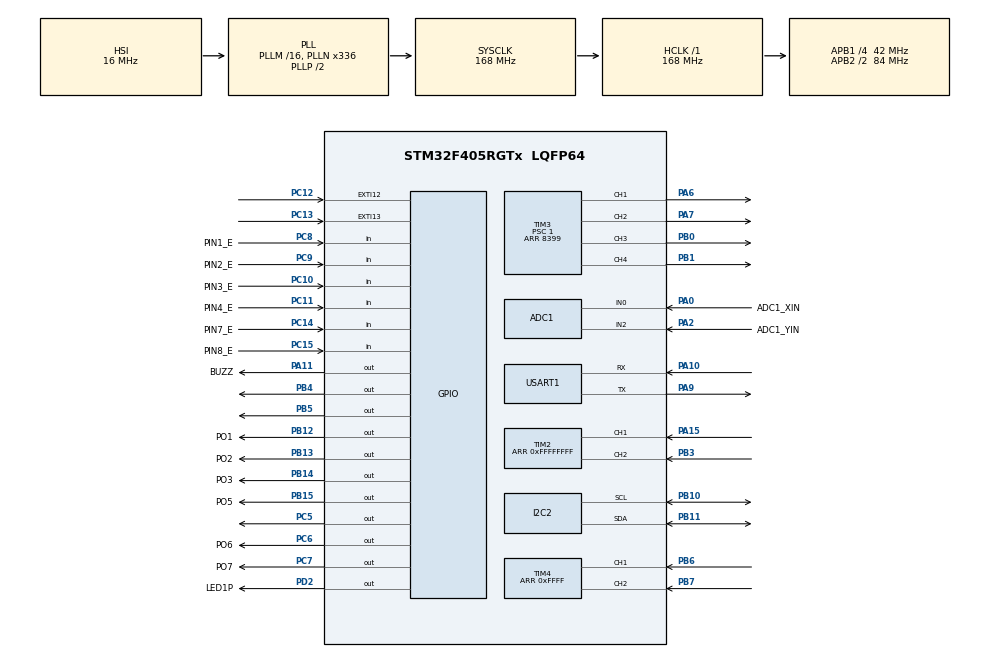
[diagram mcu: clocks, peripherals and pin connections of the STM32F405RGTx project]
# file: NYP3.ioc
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ADC1.Channel-0\#ChannelRegularConversion=ADC_CHANNEL_0
ADC1.ClockPrescaler=ADC_CLOCKPRESCALER_PCLK_DIV4
ADC1.ContinuousConvMode=DISABLE
ADC1.DMAContinuousRequests=DISABLE
ADC1.DataAlign=ADC_DATAALIGN_RIGHT
ADC1.DiscontinuousConvMode=DISABLE
ADC1.EOCSelection=EOC_SINGLE_CONV
ADC1.EnableAnalogWatchDog=false
ADC1.ExternalTrigConvEdge=ADC_EXTERNALTRIGCONVEDGE_NONE
ADC1.InjNumberOfConversion=0
ADC1.NbrOfConversion=1
ADC1.NbrOfConversionFlag=1
ADC1.Rank-0\#ChannelRegularConversion=1
ADC1.Resolution=ADC_RESOLUTION12b
ADC1.SamplingTime-0\#ChannelRegularConversion=ADC_SAMPLETIME_3CYCLES
ADC1.ScanConvMode=DISABLE
ADC1.master=1
FREERTOS.Tasks01=defaultTask,0,128,StartDefaultTask
Mcu.Family=STM32F4
Mcu.Name=STM32F405RGTx
Mcu.Package=LQFP64
NVIC.PriorityGroup=NVIC_PRIORITYGROUP_4
NVIC.TIM2_IRQn=true\:5\:0\:false
NVIC.TIM4_IRQn=true\:5\:0\:false
NVIC.TIM7_IRQn=true\:5\:0\:false
PA0-WKUP.GPIO_Label=ADC1_XIN
PA0-WKUP.Signal=ADCx_IN0
PA10.Mode=Asynchronous
PA10.Signal=USART1_RX
PA11.GPIO_Label=BUZZ
PA11.Signal=GPIO_Output
PA13.Mode=Serial-Wire
PA13.Signal=SYS_JTMS-SWDIO
PA14.Mode=Serial-Wire
PA14.Signal=SYS_JTCK-SWCLK
PA15.GPIO_PuPd=GPIO_PULLUP
PA15.GPIO_Speed=GPIO_SPEED_MEDIUM
PA15.Signal=S_TIM2_CH1_ETR
PA2.GPIO_Label=ADC1_YIN
PA2.Signal=ADCx_IN2
PA6.Signal=S_TIM3_CH1
PA7.Signal=S_TIM3_CH2
PA9.Mode=Asynchronous
PA9.Signal=USART1_TX
PB0.Signal=S_TIM3_CH3
PB1.Signal=S_TIM3_CH4
PB10.Mode=I2C
PB10.Signal=I2C2_SCL
PB11.Mode=I2C
PB11.Signal=I2C2_SDA
PB12.GPIO_Label=PO1
PB12.Signal=GPIO_Output
PB13.GPIO_Label=PO2
PB13.Signal=GPIO_Output
PB14.GPIO_Label=PO3
PB14.Signal=GPIO_Output
PB15.GPIO_Label=PO5
PB15.Signal=GPIO_Output
PB3.GPIO_PuPd=GPIO_PULLUP
PB3.GPIO_Speed=GPIO_SPEED_MEDIUM
PB3.Signal=S_TIM2_CH2
PB4.Signal=GPIO_Output
PB5.Signal=GPIO_Output
PB6.GPIO_PuPd=GPIO_PULLUP
PB6.GPIO_Speed=GPIO_SPEED_MEDIUM
PB6.Signal=S_TIM4_CH1
PB7.GPIO_PuPd=GPIO_PULLUP
PB7.GPIO_Speed=GPIO_SPEED_MEDIUM
PB7.Signal=S_TIM4_CH2
PC10.GPIO_Label=PIN3_E
PC10.Signal=GPIO_Input
PC11.GPIO_Label=PIN4_E
PC11.Signal=GPIO_Input
PC12.Signal=GPXTI12
PC13-ANTI_TAMP.Signal=GPXTI13
PC14-OSC32_IN.GPIO_Label=PIN7_E
PC14-OSC32_IN.Signal=GPIO_Input
PC15-OSC32_OUT.GPIO_Label=PIN8_E
PC15-OSC32_OUT.Signal=GPIO_Input
PC5.Signal=GPIO_Output
PC6.GPIO_Label=PO6
PC6.Signal=GPIO_Output
PC7.GPIO_Label=PO7
PC7.Signal=GPIO_Output
PC8.GPIO_Label=PIN1_E
PC8.Signal=GPIO_Input
PC9.GPIO_Label=PIN2_E
PC9.Signal=GPIO_Input
PD2.GPIO_Label=LED1P
PD2.Signal=GPIO_Output
ProjectManager.TargetToolchain=MDK-ARM V5
RCC.48MHZClocksFreq_Value=84000000
RCC.AHBFreq_Value=168000000
RCC.APB1CLKDivider=RCC_HCLK_DIV4
RCC.APB1Freq_Value=42000000
RCC.APB1TimFreq_Value=84000000
RCC.APB2CLKDivider=RCC_HCLK_DIV2
RCC.APB2Freq_Value=84000000
RCC.APB2TimFreq_Value=168000000
RCC.CortexFreq_Value=168000000
RCC.HCLKFreq_Value=168000000
RCC.HSE_VALUE=25000000
RCC.HSI_VALUE=16000000
RCC.LSE_VALUE=32768
RCC.PLLN=336
RCC.SYSCLKFreq_VALUE=168000000
RCC.SYSCLKSource=RCC_SYSCLKSOURCE_PLLCLK
RCC.VCOOutputFreq_Value=336000000
SH.ADCx_IN0.0=ADC1_IN0,IN0
SH.ADCx_IN2.0=ADC1_IN2,IN2
SH.S_TIM2_CH1_ETR.0=TIM2_CH1,Encoder_Interface
SH.S_TIM2_CH2.0=TIM2_CH2,Encoder_Interface
SH.S_TIM3_CH1.0=TIM3_CH1,PWM Generation1 CH1
SH.S_TIM3_CH2.0=TIM3_CH2,PWM Generation2 CH2
SH.S_TIM3_CH3.0=TIM3_CH3,PWM Generation3 CH3
SH.S_TIM3_CH4.0=TIM3_CH4,PWM Generation4 CH4
SH.S_TIM4_CH1.0=TIM4_CH1,Encoder_Interface
SH.S_TIM4_CH2.0=TIM4_CH2,Encoder_Interface
TIM2.IC1Filter=6
TIM2.IC2Filter=6
TIM2.Period=0xFFFFFFFF
TIM3.Channel-PWM\ Generation2\ CH2=TIM_CHANNEL_2
TIM3.Channel-PWM\ Generation3\ CH3=TIM_CHANNEL_3
TIM3.Channel-PWM\ Generation4\ CH4=TIM_CHANNEL_4
TIM3.OCPolarity_1=TIM_OCPOLARITY_HIGH
TIM3.OCPolarity_2=TIM_OCPOLARITY_HIGH
TIM3.OCPolarity_3=TIM_OCPOLARITY_HIGH
TIM3.OCPolarity_4=TIM_OCPOLARITY_HIGH
TIM3.Period=8399
TIM3.Prescaler=1
TIM3.Pulse-PWM\ Generation1\ CH1=0
TIM3.Pulse-PWM\ Generation2\ CH2=0
TIM3.Pulse-PWM\ Generation3\ CH3=0
TIM3.Pulse-PWM\ Generation4\ CH4=0
TIM4.IC1Filter=6
TIM4.IC2Filter=6
TIM4.Period=0xFFFF
TIM7.Period=1000
TIM7.Prescaler=42000
VP_FREERTOS_VS_ENABLE.Mode=Enabled
VP_TIM3_VS_ClockSourceINT.Mode=Internal
VP_TIM7_VS_ClockSourceINT.Mode=Enable_Timer
board=NYP3

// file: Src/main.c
/**
  ******************************************************************************
  * File Name          : main.c
  * Description        : Main program body
  ******************************************************************************
  *
  * COPYRIGHT(c) 2016 STMicroelectronics
  *
  * Redistribution and use in source and binary forms, with or without modification,
  * are permitted provided that the following conditions are met:
  *   1. Redistributions of source code must retain the above copyright notice,
  *      this list of conditions and the following disclaimer.
  *   2. Redistributions in binary form must reproduce the above copyright notice,
  *      this list of conditions and the following disclaimer in the documentation
  *      and/or other materials provided with the distribution.
  *   3. Neither the name of STMicroelectronics nor the names of its contributors
  *      may be used to endorse or promote products derived from this software
  *      without specific prior written permission.
  *
  * THIS SOFTWARE IS PROVIDED BY THE COPYRIGHT HOLDERS AND CONTRIBUTORS "AS IS"
  * AND ANY EXPRESS OR IMPLIED WARRANTIES, INCLUDING, BUT NOT LIMITED TO, THE
  * IMPLIED WARRANTIES OF MERCHANTABILITY AND FITNESS FOR A PARTICULAR PURPOSE ARE
  * DISCLAIMED. IN NO EVENT SHALL THE COPYRIGHT HOLDER OR CONTRIBUTORS BE LIABLE
  * FOR ANY DIRECT, INDIRECT, INCIDENTAL, SPECIAL, EXEMPLARY, OR CONSEQUENTIAL
  * DAMAGES (INCLUDING, BUT NOT LIMITED TO, PROCUREMENT OF SUBSTITUTE GOODS OR
  * SERVICES; LOSS OF USE, DATA, OR PROFITS; OR BUSINESS INTERRUPTION) HOWEVER
  * CAUSED AND ON ANY THEORY OF LIABILITY, WHETHER IN CONTRACT, STRICT LIABILITY,
  * OR TORT (INCLUDING NEGLIGENCE OR OTHERWISE) ARISING IN ANY WAY OUT OF THE USE
  * OF THIS SOFTWARE, EVEN IF ADVISED OF THE POSSIBILITY OF SUCH DAMAGE.
  *
  ******************************************************************************
  */
#include "stm32f4xx_hal.h"
#include "cmsis_os.h"
#include "adc.h"
#include "i2c.h"
#include "tim.h"
#include "usart.h"
#include "gpio.h"

/* USER CODE BEGIN PV */
/* Private variables ---------------------------------------------------------*/

/* USER CODE END PV */

void SystemClock_Config(void);
void MX_FREERTOS_Init(void);

/* USER CODE BEGIN PFP */
/* Private function prototypes -----------------------------------------------*/

/* USER CODE END PFP */

int main(void)
{

  /* MCU Configuration----------------------------------------------------------*/

  /* Reset of all peripherals, Initializes the Flash interface and the Systick. */
  HAL_Init();

  /* Configure the system clock */
  SystemClock_Config();

  /* Initialize all configured peripherals */
  MX_GPIO_Init();
  MX_ADC1_Init();
  MX_I2C2_Init();
  MX_TIM2_Init();
  MX_TIM3_Init();
  MX_TIM4_Init();
  MX_TIM7_Init();
  MX_USART1_UART_Init();

  /* USER CODE BEGIN 2 */
	/* stop all motors */
	TIM3_StartPWM(TIM_CHANNEL_1); // Left Motor
	TIM3_StartPWM(TIM_CHANNEL_2);
	TIM3_StartPWM(TIM_CHANNEL_3); // Right Motor
	TIM3_StartPWM(TIM_CHANNEL_4);
	TIM2_StartCount();
	TIM4_StartCount();
  /* USER CODE END 2 */

  /* Call init function for freertos objects (in freertos.c) */
  MX_FREERTOS_Init();

  /* Start scheduler */
  osKernelStart();

  /* We should never get here as control is now taken by the scheduler */

  /* Infinite loop */
  while (1)
  {

  }

}

/** System Clock Configuration
*/
void SystemClock_Config(void)
{

  RCC_OscInitTypeDef RCC_OscInitStruct;
  RCC_ClkInitTypeDef RCC_ClkInitStruct;

  __PWR_CLK_ENABLE();

  __HAL_PWR_VOLTAGESCALING_CONFIG(PWR_REGULATOR_VOLTAGE_SCALE1);

  RCC_OscInitStruct.OscillatorType = RCC_OSCILLATORTYPE_HSI;
  RCC_OscInitStruct.HSIState = RCC_HSI_ON;
  RCC_OscInitStruct.HSICalibrationValue = 16;
  RCC_OscInitStruct.PLL.PLLState = RCC_PLL_ON;
  RCC_OscInitStruct.PLL.PLLSource = RCC_PLLSOURCE_HSI;
  RCC_OscInitStruct.PLL.PLLM = 16;
  RCC_OscInitStruct.PLL.PLLN = 336;
  RCC_OscInitStruct.PLL.PLLP = RCC_PLLP_DIV2;
  RCC_OscInitStruct.PLL.PLLQ = 4;
  HAL_RCC_OscConfig(&RCC_OscInitStruct);

  RCC_ClkInitStruct.ClockType = RCC_CLOCKTYPE_SYSCLK|RCC_CLOCKTYPE_PCLK1
                              |RCC_CLOCKTYPE_PCLK2;
  RCC_ClkInitStruct.SYSCLKSource = RCC_SYSCLKSOURCE_PLLCLK;
  RCC_ClkInitStruct.AHBCLKDivider = RCC_SYSCLK_DIV1;
  RCC_ClkInitStruct.APB1CLKDivider = RCC_HCLK_DIV4;
  RCC_ClkInitStruct.APB2CLKDivider = RCC_HCLK_DIV2;
  HAL_RCC_ClockConfig(&RCC_ClkInitStruct, FLASH_LATENCY_5);

  HAL_SYSTICK_Config(HAL_RCC_GetHCLKFreq()/1000);

  HAL_SYSTICK_CLKSourceConfig(SYSTICK_CLKSOURCE_HCLK);

  /* SysTick_IRQn interrupt configuration */
  HAL_NVIC_SetPriority(SysTick_IRQn, 15, 0);
}

/************************ (C) COPYRIGHT STMicroelectronics *****END OF FILE****/

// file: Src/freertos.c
/**
  ******************************************************************************
  * File Name          : freertos.c
  * Description        : Code for freertos applications
  ******************************************************************************
  *
  * COPYRIGHT(c) 2016 STMicroelectronics
  *
  * Redistribution and use in source and binary forms, with or without modification,
  * are permitted provided that the following conditions are met:
  *   1. Redistributions of source code must retain the above copyright notice,
  *      this list of conditions and the following disclaimer.
  *   2. Redistributions in binary form must reproduce the above copyright notice,
  *      this list of conditions and the following disclaimer in the documentation
  *      and/or other materials provided with the distribution.
  *   3. Neither the name of STMicroelectronics nor the names of its contributors
  *      may be used to endorse or promote products derived from this software
  *      without specific prior written permission.
  *
  * THIS SOFTWARE IS PROVIDED BY THE COPYRIGHT HOLDERS AND CONTRIBUTORS "AS IS"
  * AND ANY EXPRESS OR IMPLIED WARRANTIES, INCLUDING, BUT NOT LIMITED TO, THE
  * IMPLIED WARRANTIES OF MERCHANTABILITY AND FITNESS FOR A PARTICULAR PURPOSE ARE
  * DISCLAIMED. IN NO EVENT SHALL THE COPYRIGHT HOLDER OR CONTRIBUTORS BE LIABLE
  * FOR ANY DIRECT, INDIRECT, INCIDENTAL, SPECIAL, EXEMPLARY, OR CONSEQUENTIAL
  * DAMAGES (INCLUDING, BUT NOT LIMITED TO, PROCUREMENT OF SUBSTITUTE GOODS OR
  * SERVICES; LOSS OF USE, DATA, OR PROFITS; OR BUSINESS INTERRUPTION) HOWEVER
  * CAUSED AND ON ANY THEORY OF LIABILITY, WHETHER IN CONTRACT, STRICT LIABILITY,
  * OR TORT (INCLUDING NEGLIGENCE OR OTHERWISE) ARISING IN ANY WAY OUT OF THE USE
  * OF THIS SOFTWARE, EVEN IF ADVISED OF THE POSSIBILITY OF SUCH DAMAGE.
  *
  ******************************************************************************
  */

#include "FreeRTOS.h"
#include "task.h"
#include "cmsis_os.h"

/* USER CODE BEGIN Includes */
#include "shell.h"
#include "gpio.h"
#include "i2c.h"
#include "tim.h"
#include "drive.h"
/* USER CODE END Includes */

osThreadId defaultTaskHandle;

/* USER CODE BEGIN Variables */
osThreadId shellTaskHandle;
osThreadId ledTaskHandle;
/* USER CODE END Variables */

void StartDefaultTask(void const * argument);

void MX_FREERTOS_Init(void); /* (MISRA C 2004 rule 8.1) */

/* USER CODE BEGIN FunctionPrototypes */
void ToggleLedTask(void const * argument);
/* USER CODE END FunctionPrototypes */

/* Hook prototypes */

/* Init FreeRTOS */

void MX_FREERTOS_Init(void) {

  /* Create the thread(s) */
  /* definition and creation of defaultTask */
  osThreadDef(defaultTask, StartDefaultTask, osPriorityNormal, 0, 128);
  defaultTaskHandle = osThreadCreate(osThread(defaultTask), NULL);

  /* USER CODE BEGIN RTOS_THREADS */
  /* add threads, ... */
  osThreadDef(shellTask, shellStart, osPriorityNormal, 0, 512);
  shellTaskHandle = osThreadCreate(osThread(shellTask), NULL);

  osThreadDef(ledTask, ToggleLedTask, osPriorityNormal, 0, 128);
  ledTaskHandle = osThreadCreate(osThread(ledTask), NULL);

  //startDriveUpdaterTask();
	//TIM7_Start();
  /* USER CODE END RTOS_THREADS */

}

/* StartDefaultTask function */
void StartDefaultTask(void const * argument)
{

  /* USER CODE BEGIN StartDefaultTask */
    uint8_t val = 0;
    I2C2_InitLeds();
    /* Infinite loop */
    for(;;)
    {
        I2C2_WriteLed(val);
        osDelay(500);
        val++;
    }
  /* USER CODE END StartDefaultTask */
}

/* USER CODE BEGIN Application */
void ToggleLedTask(void const * argument)
{
    while(1)
    {

        osDelay(100);
    }
}

/* USER CODE END Application */

/************************ (C) COPYRIGHT STMicroelectronics *****END OF FILE****/
